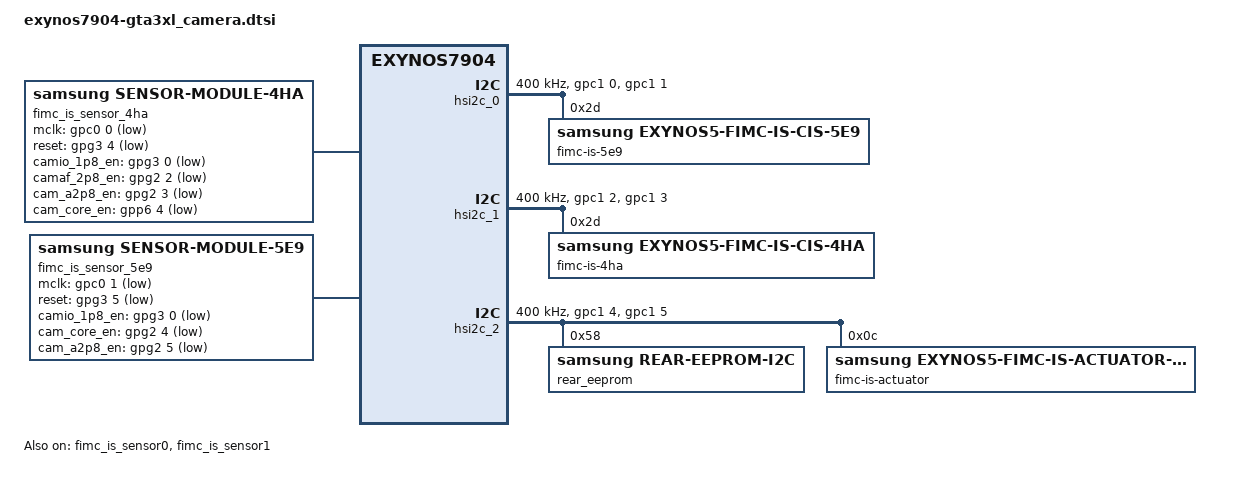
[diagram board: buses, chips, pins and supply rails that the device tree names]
/*
 * SAMSUNG EXYNOS7885 board camera device tree source
 *
 * Copyright (c) 2018 Samsung Electronics Co., Ltd.
 *		http://www.samsung.com
 *
 * This program is free software; you can redistribute it and/or modify
 * it under the terms of the GNU General Public License version 2 as
 * published by the Free Software Foundation.
 */

#include <dt-bindings/camera/fimc_is.h>

/ {
	fragment@camera {
		target-path = "/";
		__overlay__ {

			/* REAR CAMERA */
			fimc_is_sensor_4ha: fimc-is_sensor_4ha@2d {
				compatible = "samsung,sensor-module-4ha";

				pinctrl-names = "pin0", "pin1", "pin2", "release";
				pinctrl-0 = <&fimc_is_mclk0_out>;
				pinctrl-1 = <&fimc_is_mclk0_out>;
				pinctrl-2 = <&fimc_is_mclk0_fn>;
				pinctrl-3 = <>;

				position = <0>;	/* Rear:0. Front:1 */
				id = <0>; /* bns_id */
				mclk_ch = <0>;
				num_of_lanes=<4>;			/*  LANES_1:1, LANES_2:2, LANES_3:3, LANES_4:4 */

				gpio_mclk = <&gpc0 0 0x1>;
				gpio_reset = <&gpg3 4 0x1>; /* sensor reset */
				gpio_camio_1p8_en = <&gpg3 0 0x1>; /* CAM_IO_LDO_EN */
				gpio_camaf_2p8_en = <&gpg2 2 0x1>; /* CAM_AF_2P8_EN */
				gpio_cam_a2p8_en = <&gpg2 3 0x1>; /* CAM_A2P8_EN */
				gpio_cam_core_en = <&gpp6 4 0x1>; /* CAM_CORE_EN */
				//disable_core_ldo;
				status = "okay";

				af {
					product_name = <19>;			/* ACTUATOR_NAME_DW9808 */
					i2c_addr = <0x18>;
					i2c_ch = <3>;
				};
			};

			/* FRONT CAMERA */
			fimc_is_sensor_5e9: fimc-is_sensor_5e9@10 {
				compatible = "samsung,sensor-module-5e9";

				pinctrl-names = "pin0", "pin1", "pin2", "release";
				pinctrl-0 = <&fimc_is_mclk1_out>;
				pinctrl-1 = <&fimc_is_mclk1_out>;
				pinctrl-2 = <&fimc_is_mclk1_fn>;
				pinctrl-3 = <>;

				position = <1>;	/* Rear:0. Front:1 */
				id = <1>; /* bns_id */
				mclk_ch = <1>;

				gpio_mclk = <&gpc0 1 0x1>;
				gpio_reset = <&gpg3 5 0x1>;
				gpio_camio_1p8_en = <&gpg3 0 0x1>; /* VTCAM_1P8_EN */
				gpio_cam_core_en = <&gpg2 4 0x1>; /* VTCAM_A2P8_EN */
				gpio_cam_a2p8_en = <&gpg2 5 0x1>; /* VTCAM_A2P8_EN */
				status = "okay";
			};
		}; /* end of __overlay__ */
	}; /* end of fragment */
}; /* end of root */


/***** reference symbol node *****/

&fimc_is {
	pinctrl-names = "default","release";
	pinctrl-0 = <&fimc_is_mclk0_out &fimc_is_mclk1_out>;
	pinctrl-1 = <>;

	vender {
		rear_sensor_id = <39>; /* SENSOR_NAME_4HA */
		front_sensor_id = <41>; /* SENSOR_NAME_5E9 */
		use_module_check;
		//skip_cal_loading;

		max_supported_camera = <2>;
		supported_cameraId = <0 1>;

		max_camera_num = <2>;
		camera_info0 {				// 0 : rear - 4HA
			isp = <0>;				/* 0 : INT , 1 : EXT , 2 : SOC */
			cal_memory = <2>;		/* 0 : N , 1 : FROM , 2 : EEPROM , 3 : OTP  */
			read_version = <0>;		/* 0 : SYSFS , 1 : CAMON */
			core_voltage = <0>;		/* 0 : N , 1 : Y  */
			upgrade = <0>;			/* 0 : N , 1 : SYSFS , 2 : CAMON */
			companion = <0>;		/* 0 : N , 1 : Y  */
			ois = <0>;				/* 0 : N , 1 : Y  */
			valid = <1>;			/* 0 : INVALID, 1 : VALID */
		};
		camera_info1 {				// 1 : front1 - 5E9
			isp = <0>;				/* 0 : INT , 1 : EXT , 2 : SOC */
			cal_memory = <3>;		/* 0 : N , 1 : FROM , 2 : EEPROM , 3 : OTP  */
			read_version = <0>;		/* 0 : SYSFS , 1 : CAMON */
			core_voltage = <0>;		/* 0 : N , 1 : Y  */
			upgrade = <0>;			/* 0 : N , 1 : SYSFS , 2 : CAMON */
			companion = <0>;		/* 0 : N , 1 : Y  */
			ois = <0>;				/* 0 : N , 1 : Y  */
			valid = <1>;			/* 0 : INVALID, 1 : VALID */
		};
	};

	fimc_is_dvfs {
		/* TODO: DVFS level set */
		#define DVFS_INT_L0 533000
		#define DVFS_INT_L1 333000
		#define DVFS_INT_L2 267000
		#define DVFS_INT_L3 133000
		#define DVFS_INT_L4 107000

		#define DVFS_CAM_L0 690000
		#define DVFS_CAM_L1 680000
		#define DVFS_CAM_L2 670000
		#define DVFS_CAM_L3 660000
		#define DVFS_CAM_L4 650000

		#define DVFS_MIF_L0 2093000
		#define DVFS_MIF_L1 2002000
		#define DVFS_MIF_L2 1794000
		#define DVFS_MIF_L3 1539000
		#define DVFS_MIF_L4 1352000
		#define DVFS_MIF_L5 1014000
		#define DVFS_MIF_L6 845000
		#define DVFS_MIF_L7 676000
		#define DVFS_MIF_L8 546000
		#define DVFS_MIF_L9 420000

		table0 {
			desc = "default";

			default_int = <DVFS_INT_L4>;
			default_cam = <DVFS_CAM_L0>;
			default_mif = <DVFS_MIF_L0>;
			default_i2c = <0>;

			front_preview_int = <DVFS_INT_L4>;
			front_preview_cam = <DVFS_CAM_L2>;
			front_preview_mif = <DVFS_MIF_L5>;
			front_preview_i2c = <0>;

			front_capture_int = <DVFS_INT_L4>;
			front_capture_cam = <DVFS_CAM_L2>;
			front_capture_mif = <DVFS_MIF_L5>;
			front_capture_i2c = <0>;

			front_video_int = <DVFS_INT_L4>;
			front_video_cam = <DVFS_CAM_L2>;
			front_video_mif = <DVFS_MIF_L5>;
			front_video_i2c = <0>;

			front_vt1_int = <DVFS_INT_L4>;
			front_vt1_cam = <DVFS_CAM_L3>;
			front_vt1_mif = <DVFS_MIF_L7>;
			front_vt1_i2c = <0>;

			front_vt2_int = <DVFS_INT_L4>;
			front_vt2_cam = <DVFS_CAM_L3>;
			front_vt2_mif = <DVFS_MIF_L7>;
			front_vt2_i2c = <0>;

			front_vt4_int = <DVFS_INT_L4>;
			front_vt4_cam = <DVFS_CAM_L3>;
			front_vt4_mif = <DVFS_MIF_L7>;
			front_vt4_i2c = <0>;

			rear_preview_fhd_int = <DVFS_INT_L4>;
			rear_preview_fhd_cam = <DVFS_CAM_L2>;
			rear_preview_fhd_mif = <DVFS_MIF_L4>;
			rear_preview_fhd_i2c = <0>;

			rear_capture_int = <DVFS_INT_L4>;
			rear_capture_cam = <DVFS_CAM_L1>;
			rear_capture_mif = <DVFS_MIF_L3>;
			rear_capture_i2c = <0>;

			rear_video_fhd_int = <DVFS_INT_L4>;
			rear_video_fhd_cam = <DVFS_CAM_L2>;
			rear_video_fhd_mif = <DVFS_MIF_L4>;
			rear_video_fhd_i2c = <0>;

			rear_video_uhd_int = <DVFS_INT_L4>;
			rear_video_uhd_cam = <DVFS_CAM_L2>;
			rear_video_uhd_mif = <DVFS_MIF_L1>;
			rear_video_uhd_i2c = <0>;

			rear_video_fhd_capture_int = <DVFS_INT_L4>;
			rear_video_fhd_capture_cam = <DVFS_CAM_L1>;
			rear_video_fhd_capture_mif = <DVFS_MIF_L3>;
			rear_video_fhd_capture_i2c = <0>;

			rear_video_uhd_capture_int = <DVFS_INT_L4>;
			rear_video_uhd_capture_cam = <DVFS_CAM_L0>;
			rear_video_uhd_capture_mif = <DVFS_MIF_L0>;
			rear_video_uhd_capture_i2c = <0>;

			dual_preview_int = <DVFS_INT_L4>;
			dual_preview_cam = <DVFS_CAM_L0>;
			dual_preview_mif = <DVFS_MIF_L4>;
			dual_preview_i2c = <0>;

			dual_capture_int = <DVFS_INT_L4>;
			dual_capture_cam = <DVFS_CAM_L0>;
			dual_capture_mif = <DVFS_MIF_L4>;
			dual_capture_i2c = <0>;

			dual_video_int = <DVFS_INT_L4>;
			dual_video_cam = <DVFS_CAM_L0>;
			dual_video_mif = <DVFS_MIF_L4>;
			dual_video_i2c = <0>;

			preview_high_speed_fps_int = <DVFS_INT_L4>;
			preview_high_speed_fps_cam = <DVFS_CAM_L2>;
			preview_high_speed_fps_mif = <DVFS_MIF_L5>;
			preview_high_speed_fps_i2c = <0>;

			video_high_speed_60fps_int = <DVFS_INT_L4>;
			video_high_speed_60fps_cam = <DVFS_CAM_L2>;
			video_high_speed_60fps_mif = <DVFS_MIF_L5>;
			video_high_speed_60fps_i2c = <0>;

			video_high_speed_120fps_int = <DVFS_INT_L4>;
			video_high_speed_120fps_cam = <DVFS_CAM_L2>;
			video_high_speed_120fps_mif = <DVFS_MIF_L5>;
			video_high_speed_120fps_i2c = <0>;

			max_int = <DVFS_INT_L4>;
			max_cam = <DVFS_CAM_L0>;
			max_mif = <DVFS_MIF_L0>;
			max_i2c = <0>;
		};

		table1 {
			desc = "DVFS table for HAL3";

			default_int = <DVFS_INT_L4>;
			default_cam = <DVFS_CAM_L0>;
			default_mif = <DVFS_MIF_L0>;
			default_i2c = <0>;

			front_preview_int = <DVFS_INT_L4>;
			front_preview_cam = <DVFS_CAM_L2>;
			front_preview_mif = <DVFS_MIF_L5>;
			front_preview_i2c = <0>;

			front_capture_int = <DVFS_INT_L4>;
			front_capture_cam = <DVFS_CAM_L2>;
			front_capture_mif = <DVFS_MIF_L5>;
			front_capture_i2c = <0>;

			front_video_int = <DVFS_INT_L4>;
			front_video_cam = <DVFS_CAM_L2>;
			front_video_mif = <DVFS_MIF_L5>;
			front_video_i2c = <0>;

			front_vt1_int = <DVFS_INT_L4>;
			front_vt1_cam = <DVFS_CAM_L3>;
			front_vt1_mif = <DVFS_MIF_L5>;
			front_vt1_i2c = <0>;

			front_vt2_int = <DVFS_INT_L4>;
			front_vt2_cam = <DVFS_CAM_L3>;
			front_vt2_mif = <DVFS_MIF_L5>;
			front_vt2_i2c = <0>;

			front_vt4_int = <DVFS_INT_L4>;
			front_vt4_cam = <DVFS_CAM_L3>;
			front_vt4_mif = <DVFS_MIF_L5>;
			front_vt4_i2c = <0>;

			rear_preview_fhd_int = <DVFS_INT_L4>;
			rear_preview_fhd_cam = <DVFS_CAM_L0>;
			rear_preview_fhd_mif = <DVFS_MIF_L2>;
			rear_preview_fhd_i2c = <0>;

			rear_capture_int = <DVFS_INT_L4>;
			rear_capture_cam = <DVFS_CAM_L0>;
			rear_capture_mif = <DVFS_MIF_L2>;
			rear_capture_i2c = <0>;

			rear_video_fhd_int = <DVFS_INT_L4>;
			rear_video_fhd_cam = <DVFS_CAM_L0>;
			rear_video_fhd_mif = <DVFS_MIF_L2>;
			rear_video_fhd_i2c = <0>;

			rear_video_uhd_int = <DVFS_INT_L4>;
			rear_video_uhd_cam = <DVFS_CAM_L2>;
			rear_video_uhd_mif = <DVFS_MIF_L1>;
			rear_video_uhd_i2c = <0>;

			rear_video_fhd_capture_int = <DVFS_INT_L4>;
			rear_video_fhd_capture_cam = <DVFS_CAM_L1>;
			rear_video_fhd_capture_mif = <DVFS_MIF_L3>;
			rear_video_fhd_capture_i2c = <0>;

			rear_video_uhd_capture_int = <DVFS_INT_L4>;
			rear_video_uhd_capture_cam = <DVFS_CAM_L0>;
			rear_video_uhd_capture_mif = <DVFS_MIF_L0>;
			rear_video_uhd_capture_i2c = <0>;

			dual_preview_int = <DVFS_INT_L4>;
			dual_preview_cam = <DVFS_CAM_L0>;
			dual_preview_mif = <DVFS_MIF_L4>;
			dual_preview_i2c = <0>;

			dual_capture_int = <DVFS_INT_L4>;
			dual_capture_cam = <DVFS_CAM_L0>;
			dual_capture_mif = <DVFS_MIF_L4>;
			dual_capture_i2c = <0>;

			dual_video_int = <DVFS_INT_L4>;
			dual_video_cam = <DVFS_CAM_L0>;
			dual_video_mif = <DVFS_MIF_L4>;
			dual_video_i2c = <0>;

			preview_high_speed_fps_int = <DVFS_INT_L4>;
			preview_high_speed_fps_cam = <DVFS_CAM_L2>;
			preview_high_speed_fps_mif = <DVFS_MIF_L5>;
			preview_high_speed_fps_i2c = <0>;

			video_high_speed_60fps_int = <DVFS_INT_L4>;
			video_high_speed_60fps_cam = <DVFS_CAM_L3>;
			video_high_speed_60fps_mif = <DVFS_MIF_L5>;
			video_high_speed_60fps_i2c = <0>;

			video_high_speed_120fps_int = <DVFS_INT_L4>;
			video_high_speed_120fps_cam = <DVFS_CAM_L2>;
			video_high_speed_120fps_mif = <DVFS_MIF_L5>;
			video_high_speed_120fps_i2c = <0>;

			max_int = <DVFS_INT_L4>;
			max_cam = <DVFS_CAM_L0>;
			max_mif = <DVFS_MIF_L0>;
			max_i2c = <0>;
		};
	};
};

/* fimc_is_sensor0 - XMIPI_CSI4LA */
&fimc_is_sensor0 {
	scenario = <SENSOR_SCENARIO_NORMAL>;	/* Normal, Vision, OIS etc */
	id = <0>;							/* SENSOR_POSITION */
	csi_ch = <1>;						/* CSI Channel Number */
	flite_ch = <FLITE_ID_NOTHING>;
	is_bns = <0>;
	is_flite = <0>;
	status = "okay";

	//use_ssvc1_internal;				/* Internal Virual Channel */
};

/* fimc_is_sensor1 - XMIPI_CSI4LB */
&fimc_is_sensor1 {
	scenario = <SENSOR_SCENARIO_NORMAL>;	/* Normal, Vision, OIS etc */
	id = <1>;
	csi_ch = <0>;
	flite_ch = <FLITE_ID_NOTHING>;
	is_bns = <0>;
	is_flite = <0>;
	status = "okay";
};

/* fimc_is_sensor2 - XMIPI_CSI4LC */
&fimc_is_sensor2 {
	scenario = <SENSOR_SCENARIO_NORMAL>;	/* Normal, Vision, OIS etc */
	id = <3>;
	csi_ch = <2>;
	flite_ch = <FLITE_ID_NOTHING>;
	is_bns = <0>;
	is_flite = <0>;
	status = "disabled";
};

/* fimc_is_sensor3 - XMIPI_CSI2L */
&fimc_is_sensor3 {
	scenario = <SENSOR_SCENARIO_NORMAL>;	/* Normal, Vision, OIS etc */
	id = <2>;
	csi_ch = <3>;
	flite_ch = <FLITE_ID_NOTHING>;
	is_bns = <0>;
	is_flite = <0>;
	status = "disabled";
};

/* hsi2c_0: hsi2c@138A0000 */
&hsi2c_0 {
	#address-cells = <1>;
	#size-cells = <0>;
	gpios = <&gpc1 0 0 &gpc1 1 0>;
	status = "okay";
	clock-frequency = <400000>;

	samsung,scl-extended-low-period;
	samsung,reset-before-trans;

	pinctrl-names = "on_i2c";
	pinctrl-0 = <&hs_i2c0_bus>;

	fimc-is-5e9@2d {
		compatible = "samsung,exynos5-fimc-is-cis-5e9";
		reg = <0x2D>; /* 1 bit right shift */
		id = <1>; /* matching sensor id */
		sensor_f_number = <220>; /* f number 2.2 */
		setfile = "setB";
		use_initial_ae; /* for initial AE of face unlock */

		use_sensor_otp;			/* USE OTP CAL MAP */
		rom_position = <1>;		/* SENSOR_POSITION_REAR2 */
	};
};

/* hsi2c_1: hsi2c@138B0000 */
&hsi2c_1 {
	#address-cells = <1>;
	#size-cells = <0>;
	gpios = <&gpc1 2 0 &gpc1 3 0>;
	status = "okay";
	clock-frequency = <400000>;

	samsung,scl-extended-low-period;
	samsung,reset-before-trans;

	pinctrl-names = "on_i2c";
	pinctrl-0 = <&hs_i2c1_bus>;

	fimc-is-4ha@10 {
		compatible = "samsung,exynos5-fimc-is-cis-4ha";
		reg = <0x2d>; /* 1 bit right shift */
		id = <0>; /* matching sensor id */
		sensor_f_number = <190>; /* f number 1.9 */
		num_of_lanes=<4>;
		setfile = "setB";
	};
};

/* hsi2c_2: hsi2c@138C0000 */
&hsi2c_2 {
	#address-cells = <1>;
	#size-cells = <0>;
	gpios = <&gpc1 4 0 &gpc1 5 0>;
	status = "okay";
	clock-frequency = <400000>;

	samsung,scl-extended-low-period;
	samsung,reset-before-trans;

	pinctrl-names = "on_i2c";
	pinctrl-0 = <&hs_i2c2_bus>;

	rear_eeprom@B0 {
		compatible = "samsung,rear-eeprom-i2c";
		reg = <0x58>;		/* 7bit-addr */
	};

	fimc-is-actuator@18 {
		compatible = "samsung,exynos5-fimc-is-actuator-dw9808";
		reg = <0x0C>;
		id = <0>;			/* matching sensor id */
		place = <0>;
	};
};

/* hsi2c_3: hsi2c@138D0000 */
&hsi2c_3 {
	#address-cells = <1>;
	#size-cells = <0>;
	gpios = <&gpc1 6 0 &gpc1 7 0>;
	status = "disabled";
	clock-frequency = <400000>;

	samsung,scl-extended-low-period;
	samsung,reset-before-trans;

	pinctrl-names = "on_i2c";
	pinctrl-0 = <&hs_i2c3_bus>;
};

